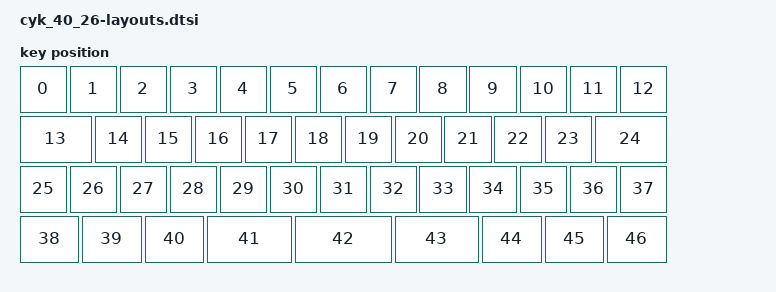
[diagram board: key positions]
#include <physical_layouts.dtsi>

/ {
    physical_layout0: physical_layout_0 {
        compatible = "zmk,physical-layout";
        display-name = "Default Layout";
        transform = <&default_transform>;
        kscan = <&kscan0>;
        keys
            /* Row 1 (13 keys, all 1U) */
            = <&key_physical_attrs 100 100 0 0 0 0 0>
            , <&key_physical_attrs 100 100 100 0 0 0 0>
            , <&key_physical_attrs 100 100 200 0 0 0 0>
            , <&key_physical_attrs 100 100 300 0 0 0 0>
            , <&key_physical_attrs 100 100 400 0 0 0 0>
            , <&key_physical_attrs 100 100 500 0 0 0 0>
            , <&key_physical_attrs 100 100 600 0 0 0 0>
            , <&key_physical_attrs 100 100 700 0 0 0 0>
            , <&key_physical_attrs 100 100 800 0 0 0 0>
            , <&key_physical_attrs 100 100 900 0 0 0 0>
            , <&key_physical_attrs 100 100 1000 0 0 0 0>
            , <&key_physical_attrs 100 100 1100 0 0 0 0>
            , <&key_physical_attrs 100 100 1200 0 0 0 0>

            /* Row 2 (1.5U, 10x 1U, 1.5U) */
            , <&key_physical_attrs 150 100 0 100 0 0 0>
            , <&key_physical_attrs 100 100 150 100 0 0 0>
            , <&key_physical_attrs 100 100 250 100 0 0 0>
            , <&key_physical_attrs 100 100 350 100 0 0 0>
            , <&key_physical_attrs 100 100 450 100 0 0 0>
            , <&key_physical_attrs 100 100 550 100 0 0 0>
            , <&key_physical_attrs 100 100 650 100 0 0 0>
            , <&key_physical_attrs 100 100 750 100 0 0 0>
            , <&key_physical_attrs 100 100 850 100 0 0 0>
            , <&key_physical_attrs 100 100 950 100 0 0 0>
            , <&key_physical_attrs 100 100 1050 100 0 0 0>
            , <&key_physical_attrs 150 100 1150 100 0 0 0>

            /* Row 3 (13 keys, all 1U) */
            , <&key_physical_attrs 100 100 0 200 0 0 0>
            , <&key_physical_attrs 100 100 100 200 0 0 0>
            , <&key_physical_attrs 100 100 200 200 0 0 0>
            , <&key_physical_attrs 100 100 300 200 0 0 0>
            , <&key_physical_attrs 100 100 400 200 0 0 0>
            , <&key_physical_attrs 100 100 500 200 0 0 0>
            , <&key_physical_attrs 100 100 600 200 0 0 0>
            , <&key_physical_attrs 100 100 700 200 0 0 0>
            , <&key_physical_attrs 100 100 800 200 0 0 0>
            , <&key_physical_attrs 100 100 900 200 0 0 0>
            , <&key_physical_attrs 100 100 1000 200 0 0 0>
            , <&key_physical_attrs 100 100 1100 200 0 0 0>
            , <&key_physical_attrs 100 100 1200 200 0 0 0>

            /* Row 4 (1.25, 1.25, 1.25, 1.75, 2.0, 1.75, 1.25, 1.25, 1.25) */
            , <&key_physical_attrs 125 100 0 300 0 0 0>
            , <&key_physical_attrs 125 100 125 300 0 0 0>
            , <&key_physical_attrs 125 100 250 300 0 0 0>
            , <&key_physical_attrs 175 100 375 300 0 0 0>
            , <&key_physical_attrs 200 100 550 300 0 0 0>
            , <&key_physical_attrs 175 100 750 300 0 0 0>
            , <&key_physical_attrs 125 100 925 300 0 0 0>
            , <&key_physical_attrs 125 100 1050 300 0 0 0>
            , <&key_physical_attrs 125 100 1175 300 0 0 0>
            ;
    };
};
